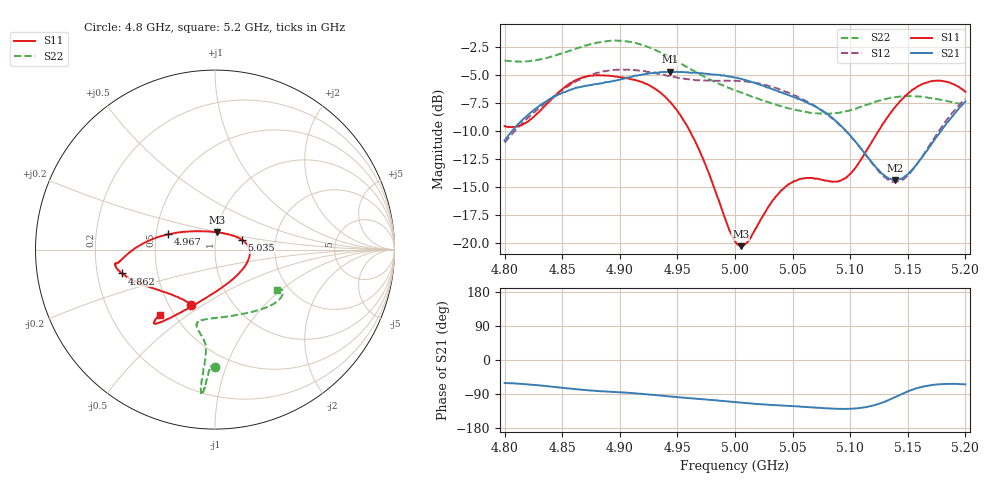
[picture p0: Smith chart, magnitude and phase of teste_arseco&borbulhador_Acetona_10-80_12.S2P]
! Network Analyzer HP8722D
! Hewlett-Packard
! Data name: Linha & Wilkinson
! Saver's name: Rodrigo Anjos
! Comments: Teste da utilização de aquisição
! continua pelo VNA HP8722D
! Time and date: 17/4/2025 14:27
!  Frequency  S11  S21  S12  S22
# HZ  S  MA R 50
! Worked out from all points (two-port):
!   401 points, 4.8 GHz to 5.2 GHz, reference 50 ohm
!   highest |S21| = -4.67 dB at 4.944 GHz (marker M1); lowest = -14.4 dB at 5.139 GHz (marker M2)
!   |S21| within 3 dB of the highest: 4.831 GHz to 5.068 GHz (236.5 MHz wide, 4.78 % of centre); 5.196984 GHz to end of sweep
!   lowest |S11| = -20.3 dB at 5.005 GHz (marker M3), VSWR 1.21, Z = 50 + j9.72 ohm
!   |S11| at or under -10 dB: 4.961 GHz to 5.124 GHz (163.4 MHz wide, 3.24 % of centre)
!   |S22| runs from -8.4 to -1.9 dB; largest |S21 - S12| = 0.88
!   S11 on the Smith chart (normalised r, x): 4.8 GHz: 0.65, -0.44; 4.862 GHz: 0.31, -0.11; 4.967 GHz: 0.58, +0.11; 5.035 GHz: 1.34, +0.15; 5.2 GHz: 0.42, -0.39
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4.8e9  0.3333 -113.4  0.2876 -60.9  0.2812 -175.1  0.6559 -90.1
4.819e9  0.3468 -133.2  0.3688 -64.1  0.358 -173.6  0.6502 -91.6
4.862e9  0.5359 -165.7  0.4967 -77.1  0.5286 -176.8  0.7416 -93.8
4.867e9  0.5482 -167.6  0.5005 -78.5  0.5431 -177.8  0.7558 -94.0
4.898e9  0.5535 -172.1  0.5356 -84.8  0.5954 175.9  0.8036 -95.2
4.934e9  0.4765 -178.1  0.5789 -93.5  0.5711 171.9  0.7176 -95.7
4.944e9  0.4267 177.4  0.5843 -96.4  0.5565 171.9  0.6746 -95.5
4.967e9  0.2744 161.9  0.5762 -102.4  0.5344 173.8  0.5763 -95.1
5e9  0.1019 102.0  0.5491 -111.2  0.5309 176.3  0.482 -99.2
5.005e9  0.0968 84.5  0.5428 -112.4  0.5305 176.1  0.471 -100.4
5.012e9  0.1026 61.6  0.5302 -114.4  0.5256 175.8  0.4576 -101.9
5.035e9  0.1602 20.1  0.4815 -119.4  0.4946 174.7  0.4159 -103.4
5.05e9  0.187 4.7  0.4523 -121.9  0.4613 174.2  0.3978 -99.7
5.067e9  0.1954 -13.4  0.4148 -125.2  0.4172 173.6  0.382 -90.9
5.087e9  0.1881 -45.4  0.3528 -128.7  0.3519 173.4  0.381 -75.7
5.097e9  0.1971 -66.0  0.314 -128.9  0.3139 174.4  0.3891 -67.4
5.134e9  0.3752 -116.3  0.194 -104.9  0.1909 -157.7  0.4451 -43.0
5.139e9  0.4059 -119.3  0.1912 -97.9  0.188 -149.9  0.4492 -40.8
5.151e9  0.4704 -124.4  0.2057 -81.8  0.2031 -131.3  0.4541 -36.3
5.17e9  0.5289 -128.8  0.2735 -66.4  0.279 -112.5  0.4453 -31.9
5.184e9  0.5259 -130.1  0.3453 -63.1  0.356 -107.3  0.4318 -31.0
5.2e9  0.4751 -130.4  0.429 -64.3  0.4411 -106.4  0.415 -33.3
